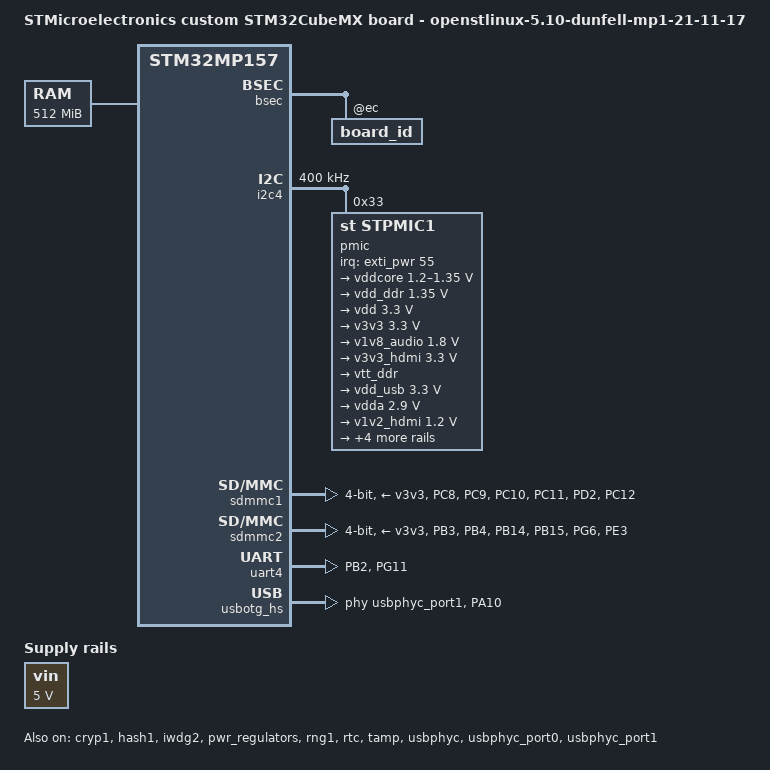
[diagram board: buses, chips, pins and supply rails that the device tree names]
/* SPDX-License-Identifier: (GPL-2.0+ OR BSD-3-Clause) */
/*
 * Copyright (C) STMicroelectronics 2022 - All Rights Reserved
 * Author: STM32CubeMX code generation for STMicroelectronics.
 */

/* For more information on Device Tree configuration, please refer to
 * https://wiki.st.com/stm32mpu/wiki/Category:Device_tree_configuration
 */

/dts-v1/;
#include <dt-bindings/pinctrl/stm32-pinfunc.h>
#include <dt-bindings/clock/stm32mp1-clksrc.h>
#include <dt-bindings/soc/st,stm32-etzpc.h>
#include "stm32mp15-mx.dtsi"

#include "stm32mp157.dtsi"
#include "stm32mp15xc.dtsi"
#include "stm32mp15xxac-pinctrl.dtsi"
#include "stm32mp15-ddr.dtsi"

/* USER CODE BEGIN includes */
#include <dt-bindings/power/stm32mp1-power.h>
/* USER CODE END includes */

/ {
	model = "STMicroelectronics custom STM32CubeMX board - openstlinux-5.10-dunfell-mp1-21-11-17";
	compatible = "st,stm32mp157c-osd32mp157c-512m-baa_minimalconfig-mx", "st,stm32mp157";

	memory@c0000000 {
		device_type = "memory";
		reg = <0xc0000000 0x20000000>;

		/* USER CODE BEGIN memory */
		/* USER CODE END memory */
	};

	/* USER CODE BEGIN root */
	aliases {
		serial0 = &uart4;
		mmc0 = &sdmmc1;
	};

	chosen {
		stdout-path = "serial0:115200n8";
	};

	vin: vin {
		compatible = "regulator-fixed";
		regulator-name = "vin";
		regulator-min-microvolt = <5000000>;
		regulator-max-microvolt = <5000000>;
		regulator-always-on;
	};
	/* USER CODE END root */

	clocks {
		/* USER CODE BEGIN clocks */
		/* USER CODE END clocks */

		clk_lse: clk-lse {
			st,drive = < LSEDRV_MEDIUM_HIGH >;

			/* USER CODE BEGIN clk_lse */
			/* USER CODE END clk_lse */
		};

		clk_hse: clk-hse {
			st,digbypass;

			/* USER CODE BEGIN clk_hse */
			/* USER CODE END clk_hse */
		};
	};

}; /*root*/

&pinctrl {
	sdmmc1_pins_mx: sdmmc1_mx-0 {
		pins1 {
			pinmux = <STM32_PINMUX('C', 8, AF12)>, /* SDMMC1_D0 */
					 <STM32_PINMUX('C', 9, AF12)>, /* SDMMC1_D1 */
					 <STM32_PINMUX('C', 10, AF12)>, /* SDMMC1_D2 */
					 <STM32_PINMUX('C', 11, AF12)>, /* SDMMC1_D3 */
					 <STM32_PINMUX('D', 2, AF12)>; /* SDMMC1_CMD */
			bias-disable;
			drive-push-pull;
			slew-rate = <1>;
		};
		pins2 {
			pinmux = <STM32_PINMUX('C', 12, AF12)>; /* SDMMC1_CK */
			bias-disable;
			drive-push-pull;
			slew-rate = <3>;
		};
	};

	sdmmc2_pins_mx: sdmmc2_mx-0 {
		pins1 {
			pinmux = <STM32_PINMUX('B', 3, AF9)>, /* SDMMC2_D2 */
					 <STM32_PINMUX('B', 4, AF9)>, /* SDMMC2_D3 */
					 <STM32_PINMUX('B', 14, AF9)>, /* SDMMC2_D0 */
					 <STM32_PINMUX('B', 15, AF9)>, /* SDMMC2_D1 */
					 <STM32_PINMUX('G', 6, AF10)>; /* SDMMC2_CMD */
			bias-pull-up;
			drive-push-pull;
			slew-rate = <1>;
		};
		pins2 {
			pinmux = <STM32_PINMUX('E', 3, AF9)>; /* SDMMC2_CK */
			bias-pull-up;
			drive-push-pull;
			slew-rate = <2>;
		};
	};

	uart4_pins_mx: uart4_mx-0 {
		pins1 {
			pinmux = <STM32_PINMUX('B', 2, AF8)>; /* UART4_RX */
			bias-disable;
		};
		pins2 {
			pinmux = <STM32_PINMUX('G', 11, AF6)>; /* UART4_TX */
			bias-disable;
			drive-push-pull;
			slew-rate = <0>;
		};
	};

	usb_otg_hs_pins_mx: usb_otg_hs_mx-0 {
		pins {
			pinmux = <STM32_PINMUX('A', 10, ANALOG)>; /* USB_OTG_HS_ID */
		};
	};

	/* USER CODE BEGIN pinctrl */
	/* USER CODE END pinctrl */
};

&pinctrl_z {
	i2c4_pins_z_mx: i2c4_mx-0 {
		pins {
			pinmux = <STM32_PINMUX('Z', 4, AF6)>, /* I2C4_SCL */
					 <STM32_PINMUX('Z', 5, AF6)>; /* I2C4_SDA */
			bias-pull-up;
			drive-open-drain;
			slew-rate = <0>;
		};
	};

	/* USER CODE BEGIN pinctrl_z */
	/* USER CODE END pinctrl_z */
};

&bsec{
	status = "okay";
	secure-status = "okay";

	/* USER CODE BEGIN bsec */
	board_id: board_id@ec {
    	reg = <0xec 0x4>;
    	st,non-secure-otp;
	};
	/* USER CODE END bsec */
};

&cryp1{
	status = "okay";

	/* USER CODE BEGIN cryp1 */
	/* USER CODE END cryp1 */
};

&etzpc{
	secure-status = "okay";
	st,decprot = <
	/*"Non Secured" peripherals*/
	DECPROT(STM32MP1_ETZPC_CRYP1_ID, DECPROT_NS_RW, DECPROT_UNLOCK)
	DECPROT(STM32MP1_ETZPC_DMA1_ID, DECPROT_NS_RW, DECPROT_UNLOCK)
	DECPROT(STM32MP1_ETZPC_DMAMUX_ID, DECPROT_NS_RW, DECPROT_UNLOCK)
	DECPROT(STM32MP1_ETZPC_ETH_ID, DECPROT_NS_RW, DECPROT_UNLOCK)
	DECPROT(STM32MP1_ETZPC_HASH1_ID, DECPROT_NS_RW, DECPROT_UNLOCK)
	DECPROT(STM32MP1_ETZPC_I2C4_ID, DECPROT_NS_RW, DECPROT_UNLOCK)
	DECPROT(STM32MP1_ETZPC_RNG1_ID, DECPROT_NS_RW, DECPROT_UNLOCK)
	DECPROT(STM32MP1_ETZPC_UART4_ID, DECPROT_NS_RW, DECPROT_UNLOCK)
	DECPROT(STM32MP1_ETZPC_OTG_ID, DECPROT_NS_RW, DECPROT_UNLOCK)
	/*"NS_R S_W" peripherals*/
	DECPROT(STM32MP1_ETZPC_DDRCTRL_ID, DECPROT_NS_R_S_W, DECPROT_LOCK)
	DECPROT(STM32MP1_ETZPC_DDRPHYC_ID, DECPROT_NS_R_S_W, DECPROT_LOCK)
	/*"Secured" peripherals*/
	DECPROT(STM32MP1_ETZPC_STGENC_ID, DECPROT_S_RW, DECPROT_UNLOCK)
	/*"Mcu Isolation" peripherals*/
	DECPROT(STM32MP1_ETZPC_DMA2_ID, DECPROT_MCU_ISOLATION, DECPROT_UNLOCK)

	/*Restriction: following IDs are not managed  - please to use User-Section if needed:
		  STM32MP1_ETZPC_SRAMx_ID  STM32MP1_ETZPC_RETRAM_ID  STM32MP1_ETZPC_BKPSRAM_ID*/

	/* USER CODE BEGIN etzpc_decprot */
		/*STM32CubeMX generates a basic and standard configuration for ETZPC.
		Additional device configurations can be added here if needed.
		"etzpc" node could be also overloaded in "addons" User-Section.*/
	/* USER CODE END etzpc_decprot */
	>;

	/* USER CODE BEGIN etzpc */
	/* USER CODE END etzpc */
};

&hash1{
	status = "okay";

	/* USER CODE BEGIN hash1 */
	/* USER CODE END hash1 */
};

&i2c4{
	pinctrl-names = "default";
	pinctrl-0 = <&i2c4_pins_z_mx>;
	status = "okay";
	secure-status = "okay";

	/* USER CODE BEGIN i2c4 */
	i2c-scl-rising-time-ns = <185>;
	i2c-scl-falling-time-ns = <20>;
	clock-frequency = <400000>;

	pmic: stpmic@33 {
		compatible = "st,stpmic1";
		reg = <0x33>;
		interrupts-extended = <&exti_pwr 55 IRQ_TYPE_EDGE_FALLING>;
		interrupt-controller;
		#interrupt-cells = <2>;
		status = "okay";
		secure-status = "okay";

		regulators {
			compatible = "st,stpmic1-regulators";
			buck1-supply = <&vin>;
			buck2-supply = <&vin>;
			buck3-supply = <&vin>;
			buck4-supply = <&vin>;
			ldo1-supply = <&v3v3>;
			ldo2-supply = <&vin>;
			ldo3-supply = <&vdd_ddr>;
			ldo4-supply = <&vin>;
			ldo5-supply = <&vin>;
			ldo6-supply = <&v3v3>;
			vref_ddr-supply = <&vin>;
			boost-supply = <&vin>;
			pwr_sw1-supply = <&bst_out>;
			pwr_sw2-supply = <&bst_out>;

			vddcore: buck1 {
				regulator-name = "vddcore";
				regulator-min-microvolt = <1200000>;
				regulator-max-microvolt = <1350000>;
				regulator-always-on;
				regulator-initial-mode = <0>;
				regulator-over-current-protection;
			};

			vdd_ddr: buck2 {
				regulator-name = "vdd_ddr";
				regulator-min-microvolt = <1350000>;
				regulator-max-microvolt = <1350000>;
				regulator-always-on;
				regulator-initial-mode = <0>;
				regulator-over-current-protection;
			};

			vdd: buck3 {
				regulator-name = "vdd";
				regulator-min-microvolt = <3300000>;
				regulator-max-microvolt = <3300000>;
				regulator-always-on;
				st,mask-reset;
				regulator-initial-mode = <0>;
				regulator-over-current-protection;
			};

			v3v3: buck4 {
				regulator-name = "v3v3";
				regulator-min-microvolt = <3300000>;
				regulator-max-microvolt = <3300000>;
				regulator-always-on;
				regulator-over-current-protection;
				regulator-initial-mode = <0>;
			};

			v1v8_audio: ldo1 {
				regulator-name = "v1v8_audio";
				regulator-min-microvolt = <1800000>;
				regulator-max-microvolt = <1800000>;
				regulator-always-on;
			};

			v3v3_hdmi: ldo2 {
				regulator-name = "v3v3_hdmi";
				regulator-min-microvolt = <3300000>;
				regulator-max-microvolt = <3300000>;
				regulator-always-on;
			};

			vtt_ddr: ldo3 {
				regulator-name = "vtt_ddr";
				regulator-always-on;
				regulator-over-current-protection;
				st,regulator-sink-source;
			};

			vdd_usb: ldo4 {
				regulator-name = "vdd_usb";
				regulator-min-microvolt = <3300000>;
				regulator-max-microvolt = <3300000>;
			};

			vdda: ldo5 {
				regulator-name = "vdda";
				regulator-min-microvolt = <2900000>;
				regulator-max-microvolt = <2900000>;
				regulator-boot-on;
			};

			v1v2_hdmi: ldo6 {
				regulator-name = "v1v2_hdmi";
				regulator-min-microvolt = <1200000>;
				regulator-max-microvolt = <1200000>;
				regulator-always-on;
			};

			vref_ddr: vref_ddr {
				regulator-name = "vref_ddr";
				regulator-always-on;
			};

			bst_out: boost {
				regulator-name = "bst_out";
			};

			vbus_otg: pwr_sw1 {
				regulator-name = "vbus_otg";
			};

			vbus_sw: pwr_sw2 {
				regulator-name = "vbus_sw";
				regulator-active-discharge = <1>;
			};
		};
	};
	/* USER CODE END i2c4 */
};

&iwdg2{
	status = "okay";
	secure-status = "okay";

	/* USER CODE BEGIN iwdg2 */
	timeout-sec = <32>;
	secure-timeout-sec = <5>;
	/* USER CODE END iwdg2 */
};

&pwr_regulators{
	status = "okay";
	secure-status = "okay";

	/* USER CODE BEGIN pwr_regulators */
	system_suspend_supported_soc_modes = <
		STM32_PM_CSLEEP_RUN
		STM32_PM_CSTOP_ALLOW_LP_STOP
		STM32_PM_CSTOP_ALLOW_STANDBY_DDR_SR
	>;
	system_off_soc_mode = <STM32_PM_CSTOP_ALLOW_STANDBY_DDR_OFF>;
	vdd-supply = <&vdd>;
	vdd_3v3_usbfs-supply = <&vdd_usb>;
	/* USER CODE END pwr_regulators */
};

&rcc{
	status = "okay";
	secure-status = "okay";
	st,csi-cal;
	st,hsi-cal;
	st,cal-sec = <60>;
	st,clksrc = <
		CLK_MPU_PLL1P
		CLK_AXI_PLL2P
		CLK_MCU_PLL3P
		CLK_PLL12_HSE
		CLK_PLL3_HSE
		CLK_PLL4_HSE
		CLK_RTC_LSE
		CLK_MCO1_DISABLED
		CLK_MCO2_DISABLED
	>;
	st,clkdiv = <
		1 		/*MPU*/
		0 		/*AXI*/
		0 		/*MCU*/
		1 		/*APB1*/
		1 		/*APB2*/
		1 		/*APB3*/
		1 		/*APB4*/
		2 		/*APB5*/
		0 		/*RTC*/
		0 		/*MCO1*/
		0 		/*MCO2*/
	>;
	st,pkcs = <
		CLK_CKPER_DISABLED
		CLK_ETH_PLL3Q
		CLK_SDMMC12_PLL4P
		CLK_STGEN_HSI
		CLK_USBPHY_HSE
		CLK_SPI2S1_DISABLED
		CLK_SPI2S23_DISABLED
		CLK_SPI45_DISABLED
		CLK_SPI6_DISABLED
		CLK_I2C46_HSI
		CLK_SDMMC3_DISABLED
		CLK_USBO_USBPHY
		CLK_ADC_DISABLED
		CLK_CEC_DISABLED
		CLK_I2C12_DISABLED
		CLK_I2C35_DISABLED
		CLK_UART1_DISABLED
		CLK_UART24_HSI
		CLK_UART35_DISABLED
		CLK_UART6_DISABLED
		CLK_UART78_DISABLED
		CLK_SPDIF_DISABLED
		CLK_SAI1_DISABLED
		CLK_SAI2_DISABLED
		CLK_SAI3_DISABLED
		CLK_SAI4_DISABLED
		CLK_RNG1_CSI
		CLK_LPTIM1_DISABLED
		CLK_LPTIM23_DISABLED
		CLK_LPTIM45_DISABLED
	>;
	pll1:st,pll@0 {
		compatible = "st,stm32mp1-pll";
		reg = <0>;
		cfg = < 2 80 0 1 1 PQR(1,0,0) >;
		frac = < 0x800 >;
	};
	pll2:st,pll@1 {
		compatible = "st,stm32mp1-pll";
		reg = <1>;
		cfg = < 2 65 1 0 0 PQR(1,0,1) >;
		frac = < 0x1400 >;
	};
	pll3:st,pll@2 {
		compatible = "st,stm32mp1-pll";
		reg = <2>;
		cfg = < 2 49 1 7 31 PQR(1,1,0) >;
	};
	pll4:st,pll@3 {
		compatible = "st,stm32mp1-pll";
		reg = <3>;
		cfg = < 3 98 5 7 5 PQR(1,0,0) >;
	};

	/* USER CODE BEGIN rcc */
	/* USER CODE END rcc */
};

&rng1{
	status = "okay";
	secure-status = "okay";

	/* USER CODE BEGIN rng1 */
	/* USER CODE END rng1 */
};

&rtc{
	status = "okay";
	secure-status = "okay";

	/* USER CODE BEGIN rtc */
	/* USER CODE END rtc */
};

&sdmmc1{
	pinctrl-names = "default";
	pinctrl-0 = <&sdmmc1_pins_mx>;
	status = "okay";

	/* USER CODE BEGIN sdmmc1 */
	disable-wp;
	st,neg-edge;
	bus-width = <4>;
	vmmc-supply = <&v3v3>;
	/* USER CODE END sdmmc1 */
};

&sdmmc2{
	pinctrl-names = "default";
	pinctrl-0 = <&sdmmc2_pins_mx>;
	status = "okay";

	/* USER CODE BEGIN sdmmc2 */
	broken-cd;
	disable-wp;
	st,neg-edge;
	bus-width = <4>;
	vmmc-supply = <&v3v3>;
	vqmmc-supply = <&vdd>;
	mmc-ddr-3_3v;
	/* USER CODE END sdmmc2 */
};

&tamp{
	status = "okay";
	secure-status = "okay";

	/* USER CODE BEGIN tamp */
	/* USER CODE END tamp */
};

&uart4{
	pinctrl-names = "default";
	pinctrl-0 = <&uart4_pins_mx>;
	status = "okay";

	/* USER CODE BEGIN uart4 */
	/* USER CODE END uart4 */
};

&usbotg_hs{
	pinctrl-names = "default";
	pinctrl-0 = <&usb_otg_hs_pins_mx>;
	status = "okay";

	/* USER CODE BEGIN usbotg_hs */
	phys = <&usbphyc_port1 0>;
	phy-names = "usb2-phy";
	usb-role-switch;
	/* USER CODE END usbotg_hs */
};

&usbphyc{
	status = "okay";

	/* USER CODE BEGIN usbphyc */
	phy-supply = <&vdd_usb>;
	/* USER CODE END usbphyc */
};

&usbphyc_port0{
	status = "okay";

	/* USER CODE BEGIN usbphyc_port0 */
	phy-supply = <&vdd_usb>;
	/* USER CODE END usbphyc_port0 */
};

&usbphyc_port1{
	status = "okay";

	/* USER CODE BEGIN usbphyc_port1 */
	phy-supply = <&vdd_usb>;
	/* USER CODE END usbphyc_port1 */
};

/* USER CODE BEGIN addons */
&clk_hse {
	st,digbypass;
};

&cpu0{
	cpu-supply = <&vddcore>;
};

&cpu1{
	cpu-supply = <&vddcore>;
};

&nvmem_layout{
	nvmem-cells = <&cfg0_otp>,
	      <&part_number_otp>,
	      <&monotonic_otp>,
	      <&nand_otp>,
	      <&uid_otp>,
	      <&package_otp>,
	      <&hw2_otp>,
	      <&pkh_otp>,
	      <&board_id>;

	nvmem-cell-names = "cfg0_otp",
	     "part_number_otp",
	     "monotonic_otp",
	     "nand_otp",
	     "uid_otp",
	     "package_otp",
	     "hw2_otp",
	     "pkh_otp",
	     "board_id";
};

/* Low-power states of regulators */
&v1v2_hdmi {
	standby-ddr-sr {
		regulator-off-in-suspend;
	};
	standby-ddr-off {
		regulator-off-in-suspend;
	};
};

&v1v8_audio {
	standby-ddr-sr {
		regulator-off-in-suspend;
	};
	standby-ddr-off {
		regulator-off-in-suspend;
	};
};

&v3v3 {
	lp-stop {
		regulator-suspend-microvolt = <3300000>;
		regulator-on-in-suspend;
	};
	standby-ddr-sr {
		regulator-off-in-suspend;
	};
	standby-ddr-off {
		regulator-off-in-suspend;
	};
};

&v3v3_hdmi {
	standby-ddr-sr {
		regulator-off-in-suspend;
	};
	standby-ddr-off {
		regulator-off-in-suspend;
	};
};

&vdd {
	lp-stop {
		regulator-suspend-microvolt = <3300000>;
		regulator-on-in-suspend;
	};
	standby-ddr-sr {
		regulator-suspend-microvolt = <3300000>;
		regulator-on-in-suspend;
	};
	standby-ddr-off {
		regulator-suspend-microvolt = <3300000>;
		regulator-on-in-suspend;
	};
};

&vdda {
	standby-ddr-sr {
		regulator-off-in-suspend;
	};
	standby-ddr-off {
		regulator-off-in-suspend;
	};
};

&vddcore {
	lp-stop {
		regulator-on-in-suspend;
		regulator-suspend-microvolt = <1200000>;
	};
	standby-ddr-sr {
		regulator-off-in-suspend;
	};
	standby-ddr-off {
		regulator-off-in-suspend;
	};
};

&vdd_ddr {
	lp-stop {
		regulator-suspend-microvolt = <1350000>;
		regulator-on-in-suspend;
	};
	standby-ddr-sr {
		regulator-suspend-microvolt = <1350000>;
		regulator-on-in-suspend;
	};
	standby-ddr-off {
		regulator-off-in-suspend;
	};
};

&vdd_usb {
	standby-ddr-sr {
		regulator-off-in-suspend;
	};
	standby-ddr-off {
		regulator-off-in-suspend;
	};
};

&vref_ddr {
	lp-stop {
		regulator-on-in-suspend;
	};
	standby-ddr-sr {
		regulator-on-in-suspend;
	};
	standby-ddr-off {
		regulator-off-in-suspend;
	};
};

&vtt_ddr {
	lp-stop {
		regulator-off-in-suspend;
	};
	standby-ddr-sr {
		regulator-off-in-suspend;
	};
	standby-ddr-off {
		regulator-off-in-suspend;
	};
};
/* USER CODE END addons */

